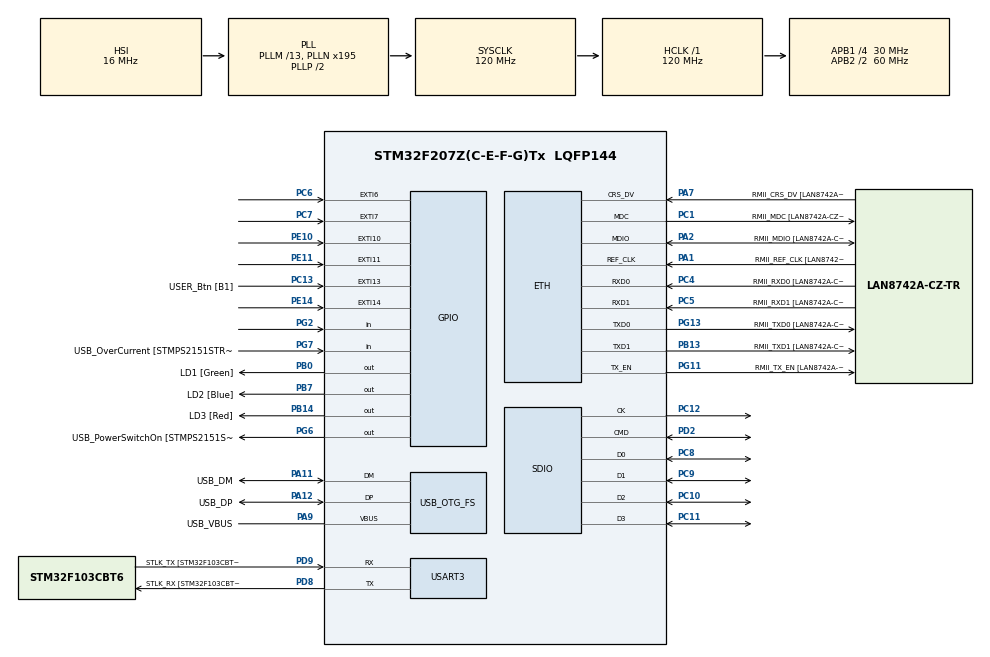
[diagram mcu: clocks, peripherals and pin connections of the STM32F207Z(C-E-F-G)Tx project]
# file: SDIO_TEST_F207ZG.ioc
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Dma.Request0=SDIO_TX
Dma.Request1=SDIO_RX
Dma.SDIO_RX.1.Direction=DMA_PERIPH_TO_MEMORY
Dma.SDIO_RX.1.FIFOMode=DMA_FIFOMODE_ENABLE
Dma.SDIO_RX.1.FIFOThreshold=DMA_FIFO_THRESHOLD_FULL
Dma.SDIO_RX.1.Instance=DMA2_Stream3
Dma.SDIO_RX.1.MemBurst=DMA_MBURST_INC4
Dma.SDIO_RX.1.MemDataAlignment=DMA_MDATAALIGN_WORD
Dma.SDIO_RX.1.MemInc=DMA_MINC_ENABLE
Dma.SDIO_RX.1.Mode=DMA_PFCTRL
Dma.SDIO_RX.1.PeriphBurst=DMA_PBURST_INC4
Dma.SDIO_RX.1.PeriphDataAlignment=DMA_PDATAALIGN_WORD
Dma.SDIO_RX.1.PeriphInc=DMA_PINC_DISABLE
Dma.SDIO_RX.1.Priority=DMA_PRIORITY_LOW
Dma.SDIO_TX.0.Direction=DMA_MEMORY_TO_PERIPH
Dma.SDIO_TX.0.FIFOMode=DMA_FIFOMODE_ENABLE
Dma.SDIO_TX.0.FIFOThreshold=DMA_FIFO_THRESHOLD_FULL
Dma.SDIO_TX.0.Instance=DMA2_Stream6
Dma.SDIO_TX.0.MemBurst=DMA_MBURST_INC4
Dma.SDIO_TX.0.MemDataAlignment=DMA_MDATAALIGN_WORD
Dma.SDIO_TX.0.MemInc=DMA_MINC_ENABLE
Dma.SDIO_TX.0.Mode=DMA_PFCTRL
Dma.SDIO_TX.0.PeriphBurst=DMA_PBURST_INC4
Dma.SDIO_TX.0.PeriphDataAlignment=DMA_PDATAALIGN_WORD
Dma.SDIO_TX.0.PeriphInc=DMA_PINC_DISABLE
Dma.SDIO_TX.0.Priority=DMA_PRIORITY_LOW
ETH.MediaInterface=ETH_MEDIA_INTERFACE_RMII
ETH.PHY_Name=LAN8742A_PHY_ADDRESS
ETH.PHY_Value=0
ETH.PhyAddress=0
FATFS.BSP.number=1
FATFS._CODE_PAGE=949
FATFS._USE_LFN=3
FATFS._WORD_ACCESS=1
FATFS0.BSP.STBoard=false
FATFS0.BSP.api=Unknown
FATFS0.BSP.i2caddr=0
FATFS0.BSP.instance=PG2
FATFS0.BSP.ip=GPIO
FATFS0.BSP.mode=Input
FATFS0.BSP.name=Detect_SDIO
FATFS0.BSP.solution=PG2
Mcu.Family=STM32F2
Mcu.Name=STM32F207Z(C-E-F-G)Tx
Mcu.Package=LQFP144
NVIC.DMA2_Stream3_IRQn=true\:6\:0\:true\:false\:true\:false\:true
NVIC.DMA2_Stream6_IRQn=true\:6\:0\:true\:false\:true\:false\:true
NVIC.EXTI15_10_IRQn=true\:0\:0\:false\:false\:true\:true\:true
NVIC.EXTI9_5_IRQn=true\:0\:0\:false\:false\:true\:true\:true
NVIC.OTG_FS_IRQn=true\:0\:0\:false\:false\:true\:false\:true
NVIC.PriorityGroup=NVIC_PRIORITYGROUP_4
NVIC.SDIO_IRQn=true\:5\:0\:true\:false\:true\:true\:true
PA1.GPIO_Label=RMII_REF_CLK [LAN8742A-CZ-TR_REFCLK0]
PA1.Mode=RMII
PA1.Signal=ETH_REF_CLK
PA10.GPIO_Label=USB_ID
PA10.Signal=USB_OTG_FS_ID
PA11.GPIO_Label=USB_DM
PA11.Mode=Device_Only
PA11.Signal=USB_OTG_FS_DM
PA12.GPIO_Label=USB_DP
PA12.Mode=Device_Only
PA12.Signal=USB_OTG_FS_DP
PA13.GPIO_Label=TMS
PA13.Mode=Trace_Asynchronous_SW
PA13.Signal=SYS_JTMS-SWDIO
PA14.GPIO_Label=TCK
PA14.Mode=Trace_Asynchronous_SW
PA14.Signal=SYS_JTCK-SWCLK
PA2.GPIO_Label=RMII_MDIO [LAN8742A-CZ-TR_MDIO]
PA2.Mode=RMII
PA2.Signal=ETH_MDIO
PA7.GPIO_Label=RMII_CRS_DV [LAN8742A-CZ-TR_CRS_DV]
PA7.Mode=RMII
PA7.Signal=ETH_CRS_DV
PA8.GPIO_Label=USB_SOF [TP1]
PA8.Signal=USB_OTG_FS_SOF
PA9.GPIO_Label=USB_VBUS
PA9.Mode=Activate_VBUS
PA9.Signal=USB_OTG_FS_VBUS
PB0.GPIO_Label=LD1 [Green]
PB0.Signal=GPIO_Output
PB13.GPIO_Label=RMII_TXD1 [LAN8742A-CZ-TR_TXD1]
PB13.Mode=RMII
PB13.Signal=ETH_TXD1
PB14.GPIO_Label=LD3 [Red]
PB14.Signal=GPIO_Output
PB3.GPIO_Label=SWO
PB3.Mode=Trace_Asynchronous_SW
PB3.Signal=SYS_JTDO-SWO
PB7.GPIO_Label=LD2 [Blue]
PB7.Signal=GPIO_Output
PC1.GPIO_Label=RMII_MDC [LAN8742A-CZ-TR_MDC]
PC1.Mode=RMII
PC1.Signal=ETH_MDC
PC10.Mode=SD_4_bits_Wide_bus
PC10.Signal=SDIO_D2
PC11.Mode=SD_4_bits_Wide_bus
PC11.Signal=SDIO_D3
PC12.Mode=SD_4_bits_Wide_bus
PC12.Signal=SDIO_CK
PC13.GPIO_Label=USER_Btn [B1]
PC13.Signal=GPXTI13
PC14-OSC32_IN.Mode=LSE-External-Oscillator
PC14-OSC32_IN.Signal=RCC_OSC32_IN
PC15-OSC32_OUT.Mode=LSE-External-Oscillator
PC15-OSC32_OUT.Signal=RCC_OSC32_OUT
PC4.GPIO_Label=RMII_RXD0 [LAN8742A-CZ-TR_RXD0]
PC4.Mode=RMII
PC4.Signal=ETH_RXD0
PC5.GPIO_Label=RMII_RXD1 [LAN8742A-CZ-TR_RXD1]
PC5.Mode=RMII
PC5.Signal=ETH_RXD1
PC6.Signal=GPXTI6
PC7.Signal=GPXTI7
PC8.Mode=SD_4_bits_Wide_bus
PC8.Signal=SDIO_D0
PC9.Mode=SD_4_bits_Wide_bus
PC9.Signal=SDIO_D1
PD2.Mode=SD_4_bits_Wide_bus
PD2.Signal=SDIO_CMD
PD8.GPIO_Label=STLK_RX [STM32F103CBT6_PA3]
PD8.Mode=Asynchronous
PD8.Signal=USART3_TX
PD9.GPIO_Label=STLK_TX [STM32F103CBT6_PA2]
PD9.Mode=Asynchronous
PD9.Signal=USART3_RX
PE10.Signal=GPXTI10
PE11.Signal=GPXTI11
PE14.Signal=GPXTI14
PG11.GPIO_Label=RMII_TX_EN [LAN8742A-CZ-TR_TXEN]
PG11.Mode=RMII
PG11.Signal=ETH_TX_EN
PG13.GPIO_Label=RMII_TXD0 [LAN8742A-CZ-TR_TXD0]
PG13.Mode=RMII
PG13.Signal=ETH_TXD0
PG2.GPIO_PuPd=GPIO_PULLUP
PG2.Signal=GPIO_Input
PG6.GPIO_Label=USB_PowerSwitchOn [STMPS2151STR_EN]
PG6.Signal=GPIO_Output
PG7.GPIO_Label=USB_OverCurrent [STMPS2151STR_FAULT]
PG7.Signal=GPIO_Input
PH0-OSC_IN.GPIO_Label=MCO [STM32F103CBT6_PA8]
PH0-OSC_IN.Mode=HSE-External-Clock-Source
PH0-OSC_IN.Signal=RCC_OSC_IN
PH1-OSC_OUT.Mode=HSE-External-Clock-Source
PH1-OSC_OUT.Signal=RCC_OSC_OUT
ProjectManager.HeapSize=0x200
ProjectManager.StackSize=0x400
ProjectManager.TargetToolchain=STM32CubeIDE
RCC.48MHZClocksFreq_Value=48000000
RCC.AHBFreq_Value=120000000
RCC.APB1CLKDivider=RCC_HCLK_DIV4
RCC.APB1Freq_Value=30000000
RCC.APB1TimFreq_Value=60000000
RCC.APB2CLKDivider=RCC_HCLK_DIV2
RCC.APB2Freq_Value=60000000
RCC.APB2TimFreq_Value=120000000
RCC.CortexFreq_Value=120000000
RCC.HCLKFreq_Value=120000000
RCC.HSE_VALUE=8000000
RCC.HSI_VALUE=16000000
RCC.PLLM=13
RCC.PLLMUL=RCC_PLL_MUL9
RCC.PLLN=195
RCC.PLLQ=5
RCC.PRESCALERUSB=RCC_USBCLKSOURCE_PLL_DIV1_5
RCC.SYSCLKFreq_VALUE=120000000
RCC.SYSCLKSource=RCC_SYSCLKSOURCE_PLLCLK
RCC.SYSCLKSourceVirtual=RCC_SYSCLKSOURCE_PLLCLK
RCC.USBFreq_Value=48000000
RCC.VCOOutputFreq_Value=240000000
SDIO.ClockBypass=SDIO_CLOCK_BYPASS_DISABLE
SDIO.ClockDiv=10
SDIO.HardwareFlowControl=SDIO_HARDWARE_FLOW_CONTROL_DISABLE
USART3.VirtualMode=VM_ASYNC
USB_DEVICE.APP_RX_DATA_SIZE-CDC_FS=300
USB_DEVICE.APP_TX_DATA_SIZE-CDC_FS=300
USB_DEVICE.CLASS_NAME_FS=CDC
USB_DEVICE.USBD_DEBUG_LEVEL-CDC_FS=0
USB_DEVICE.USBD_SELF_POWERED-CDC_FS=0
USB_DEVICE.VirtualMode-CDC_FS=Cdc
USB_DEVICE.VirtualModeFS=Cdc_FS
USB_OTG_FS.VirtualMode=Device_Only
VP_FATFS_VS_SDIO.Mode=SDIO
VP_USB_DEVICE_VS_USB_DEVICE_CDC_FS.Mode=CDC_FS
board=custom

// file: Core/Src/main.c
/* USER CODE BEGIN Header */
/**
 ******************************************************************************
 * @file           : main.c
 * @brief          : Main program body
 ******************************************************************************
 * @attention
 *
 * <h2><center>&copy; Copyright (c) 2020 STMicroelectronics.
 * All rights reserved.</center></h2>
 *
 * This software component is licensed by ST under BSD 3-Clause license,
 * the "License"; You may not use this file except in compliance with the
 * License. You may obtain a copy of the License at:
 *                        opensource.org/licenses/BSD-3-Clause
 *
 ******************************************************************************
 */
/* USER CODE END Header */
#include "main.h"
#include "fatfs.h"
#include "usb_device.h"

ETH_HandleTypeDef heth;

SD_HandleTypeDef hsd;
DMA_HandleTypeDef hdma_sdio_tx;
DMA_HandleTypeDef hdma_sdio_rx;

UART_HandleTypeDef huart3;

void SystemClock_Config(void);
static void MX_GPIO_Init(void);
static void MX_DMA_Init(void);
static void MX_ETH_Init(void);
static void MX_USART3_UART_Init(void);
static void MX_SDIO_SD_Init(void);

/* USER CODE BEGIN 0 */
void HAL_GPIO_EXTI_Callback(uint16_t GPIO_Pin)
{
	switch (GPIO_Pin)
	{
	case GPIO_PIN_6:
		ITM_SendChar('6');
		ITM_SendChar('\r');
		ITM_SendChar('\n');
		break;
	case GPIO_PIN_7:
		ITM_SendChar('7');
		ITM_SendChar('\r');
		ITM_SendChar('\n');
		break;
	case GPIO_PIN_10:
		HAL_GPIO_TogglePin(GPIOB, GPIO_PIN_7);
		break;
	case GPIO_PIN_11:
		HAL_GPIO_TogglePin(GPIOB, GPIO_PIN_0);
		break;
	case GPIO_PIN_14:
		HAL_GPIO_TogglePin(GPIOB, GPIO_PIN_14);
		break;
	}
}

void ITM_SendStr(char *str)
{
	while (*str)
	{
		ITM_SendChar(*str);
		str++;
	}
}

/* USER CODE END 0 */

int main(void)
{

	/* MCU Configuration--------------------------------------------------------*/

	/* Reset of all peripherals, Initializes the Flash interface and the Systick. */
	HAL_Init();

	/* Configure the system clock */
	SystemClock_Config();

	/* Initialize all configured peripherals */
	MX_GPIO_Init();
	MX_DMA_Init();
	MX_ETH_Init();
	MX_USART3_UART_Init();
	MX_USB_DEVICE_Init();
	MX_SDIO_SD_Init();
	MX_FATFS_Init();
	/* USER CODE BEGIN 2 */
	HAL_Delay(100);
	DIR dp;
	FIL temp;
	FILINFO fnp;
	char buf[100];
	volatile int res;
	res = f_mount(&SDFatFS, SDPath, 1);
	sprintf(buf, "f_mount res=%d\r\n", res);
	ITM_SendStr(buf);
	res = f_open(&temp, "WriteTest.txt", FA_WRITE | FA_CREATE_ALWAYS);

	char tmp[] = "이미 탈주할 사람의 메시지 입니다.\r\n"
			"전 강해지기 위해서 탈주하겠습니다!\r\n"
			"아 하하하ㅏ하하하하하ㅏ하하하\r\n";

	f_write(&temp, tmp, strlen(tmp), &res);
	f_close(&temp);

	/* USER CODE END 2 */

	/* Infinite loop */
	while (1)
	{

		/* USER CODE BEGIN 3 */
		HAL_GPIO_WritePin(GPIOG, GPIO_PIN_6, SET);
		HAL_Delay(30);
		HAL_GPIO_WritePin(GPIOG, GPIO_PIN_6, RESET);
		HAL_Delay(470);
		//ITM_SendChar('x');

	}
	/* USER CODE END 3 */
}

void SystemClock_Config(void)
{
	RCC_OscInitTypeDef RCC_OscInitStruct =
	{ 0 };
	RCC_ClkInitTypeDef RCC_ClkInitStruct =
	{ 0 };

	/** Initializes the RCC Oscillators according to the specified parameters
	 * in the RCC_OscInitTypeDef structure.
	 */
	RCC_OscInitStruct.OscillatorType = RCC_OSCILLATORTYPE_HSI;
	RCC_OscInitStruct.HSIState = RCC_HSI_ON;
	RCC_OscInitStruct.HSICalibrationValue = RCC_HSICALIBRATION_DEFAULT;
	RCC_OscInitStruct.PLL.PLLState = RCC_PLL_ON;
	RCC_OscInitStruct.PLL.PLLSource = RCC_PLLSOURCE_HSI;
	RCC_OscInitStruct.PLL.PLLM = 13;
	RCC_OscInitStruct.PLL.PLLN = 195;
	RCC_OscInitStruct.PLL.PLLP = RCC_PLLP_DIV2;
	RCC_OscInitStruct.PLL.PLLQ = 5;
	if (HAL_RCC_OscConfig(&RCC_OscInitStruct) != HAL_OK)
	{
		Error_Handler();
	}
	/** Initializes the CPU, AHB and APB buses clocks
	 */
	RCC_ClkInitStruct.ClockType = RCC_CLOCKTYPE_HCLK | RCC_CLOCKTYPE_SYSCLK
			| RCC_CLOCKTYPE_PCLK1 | RCC_CLOCKTYPE_PCLK2;
	RCC_ClkInitStruct.SYSCLKSource = RCC_SYSCLKSOURCE_PLLCLK;
	RCC_ClkInitStruct.AHBCLKDivider = RCC_SYSCLK_DIV1;
	RCC_ClkInitStruct.APB1CLKDivider = RCC_HCLK_DIV4;
	RCC_ClkInitStruct.APB2CLKDivider = RCC_HCLK_DIV2;

	if (HAL_RCC_ClockConfig(&RCC_ClkInitStruct, FLASH_LATENCY_3) != HAL_OK)
	{
		Error_Handler();
	}
}

static void MX_ETH_Init(void)
{

	heth.Instance = ETH;
	heth.Init.AutoNegotiation = ETH_AUTONEGOTIATION_ENABLE;
	heth.Init.Speed = ETH_SPEED_100M;
	heth.Init.DuplexMode = ETH_MODE_FULLDUPLEX;
	heth.Init.PhyAddress = LAN8742A_PHY_ADDRESS;
	heth.Init.MACAddr[0] = 0x00;
	heth.Init.MACAddr[1] = 0x80;
	heth.Init.MACAddr[2] = 0xE1;
	heth.Init.MACAddr[3] = 0x00;
	heth.Init.MACAddr[4] = 0x00;
	heth.Init.MACAddr[5] = 0x00;
	heth.Init.RxMode = ETH_RXPOLLING_MODE;
	heth.Init.ChecksumMode = ETH_CHECKSUM_BY_HARDWARE;
	heth.Init.MediaInterface = ETH_MEDIA_INTERFACE_RMII;

	if (HAL_ETH_Init(&heth) != HAL_OK)
	{
		Error_Handler();
	}

}

static void MX_SDIO_SD_Init(void)
{

	hsd.Instance = SDIO;
	hsd.Init.ClockEdge = SDIO_CLOCK_EDGE_RISING;
	hsd.Init.ClockBypass = SDIO_CLOCK_BYPASS_DISABLE;
	hsd.Init.ClockPowerSave = SDIO_CLOCK_POWER_SAVE_DISABLE;
	hsd.Init.BusWide = SDIO_BUS_WIDE_1B;
	hsd.Init.HardwareFlowControl = SDIO_HARDWARE_FLOW_CONTROL_DISABLE;
	hsd.Init.ClockDiv = 10;

}

static void MX_USART3_UART_Init(void)
{

	huart3.Instance = USART3;
	huart3.Init.BaudRate = 115200;
	huart3.Init.WordLength = UART_WORDLENGTH_8B;
	huart3.Init.StopBits = UART_STOPBITS_1;
	huart3.Init.Parity = UART_PARITY_NONE;
	huart3.Init.Mode = UART_MODE_TX_RX;
	huart3.Init.HwFlowCtl = UART_HWCONTROL_NONE;
	huart3.Init.OverSampling = UART_OVERSAMPLING_16;
	if (HAL_UART_Init(&huart3) != HAL_OK)
	{
		Error_Handler();
	}

}

static void MX_DMA_Init(void)
{

	/* DMA controller clock enable */
	__HAL_RCC_DMA2_CLK_ENABLE();

	/* DMA interrupt init */
	/* DMA2_Stream3_IRQn interrupt configuration */
	HAL_NVIC_SetPriority(DMA2_Stream3_IRQn, 6, 0);
	HAL_NVIC_EnableIRQ(DMA2_Stream3_IRQn);
	/* DMA2_Stream6_IRQn interrupt configuration */
	HAL_NVIC_SetPriority(DMA2_Stream6_IRQn, 6, 0);
	HAL_NVIC_EnableIRQ(DMA2_Stream6_IRQn);

}

static void MX_GPIO_Init(void)
{
	GPIO_InitTypeDef GPIO_InitStruct =
	{ 0 };

	/* GPIO Ports Clock Enable */
	__HAL_RCC_GPIOC_CLK_ENABLE();
	__HAL_RCC_GPIOH_CLK_ENABLE();
	__HAL_RCC_GPIOA_CLK_ENABLE();
	__HAL_RCC_GPIOB_CLK_ENABLE();
	__HAL_RCC_GPIOE_CLK_ENABLE();
	__HAL_RCC_GPIOD_CLK_ENABLE();
	__HAL_RCC_GPIOG_CLK_ENABLE();

	/*Configure GPIO pin Output Level */
	HAL_GPIO_WritePin(GPIOB, LD1_Pin | LD3_Pin | LD2_Pin, GPIO_PIN_RESET);

	/*Configure GPIO pin Output Level */
	HAL_GPIO_WritePin(USB_PowerSwitchOn_GPIO_Port, USB_PowerSwitchOn_Pin,
			GPIO_PIN_RESET);

	/*Configure GPIO pins : USER_Btn_Pin PC6 PC7 */
	GPIO_InitStruct.Pin = USER_Btn_Pin | GPIO_PIN_6 | GPIO_PIN_7;
	GPIO_InitStruct.Mode = GPIO_MODE_IT_RISING;
	GPIO_InitStruct.Pull = GPIO_NOPULL;
	HAL_GPIO_Init(GPIOC, &GPIO_InitStruct);

	/*Configure GPIO pins : LD1_Pin LD3_Pin LD2_Pin */
	GPIO_InitStruct.Pin = LD1_Pin | LD3_Pin | LD2_Pin;
	GPIO_InitStruct.Mode = GPIO_MODE_OUTPUT_PP;
	GPIO_InitStruct.Pull = GPIO_NOPULL;
	GPIO_InitStruct.Speed = GPIO_SPEED_FREQ_LOW;
	HAL_GPIO_Init(GPIOB, &GPIO_InitStruct);

	/*Configure GPIO pins : PE10 PE11 PE14 */
	GPIO_InitStruct.Pin = GPIO_PIN_10 | GPIO_PIN_11 | GPIO_PIN_14;
	GPIO_InitStruct.Mode = GPIO_MODE_IT_RISING;
	GPIO_InitStruct.Pull = GPIO_NOPULL;
	HAL_GPIO_Init(GPIOE, &GPIO_InitStruct);

	/*Configure GPIO pin : PG2 */
	GPIO_InitStruct.Pin = GPIO_PIN_2;
	GPIO_InitStruct.Mode = GPIO_MODE_INPUT;
	GPIO_InitStruct.Pull = GPIO_PULLUP;
	HAL_GPIO_Init(GPIOG, &GPIO_InitStruct);

	/*Configure GPIO pin : USB_PowerSwitchOn_Pin */
	GPIO_InitStruct.Pin = USB_PowerSwitchOn_Pin;
	GPIO_InitStruct.Mode = GPIO_MODE_OUTPUT_PP;
	GPIO_InitStruct.Pull = GPIO_NOPULL;
	GPIO_InitStruct.Speed = GPIO_SPEED_FREQ_LOW;
	HAL_GPIO_Init(USB_PowerSwitchOn_GPIO_Port, &GPIO_InitStruct);

	/*Configure GPIO pin : USB_OverCurrent_Pin */
	GPIO_InitStruct.Pin = USB_OverCurrent_Pin;
	GPIO_InitStruct.Mode = GPIO_MODE_INPUT;
	GPIO_InitStruct.Pull = GPIO_NOPULL;
	HAL_GPIO_Init(USB_OverCurrent_GPIO_Port, &GPIO_InitStruct);

	/* EXTI interrupt init*/
	HAL_NVIC_SetPriority(EXTI9_5_IRQn, 0, 0);
	HAL_NVIC_EnableIRQ(EXTI9_5_IRQn);

	HAL_NVIC_SetPriority(EXTI15_10_IRQn, 0, 0);
	HAL_NVIC_EnableIRQ(EXTI15_10_IRQn);

}

void Error_Handler(void)
{
}

/************************ (C) COPYRIGHT STMicroelectronics *****END OF FILE****/
